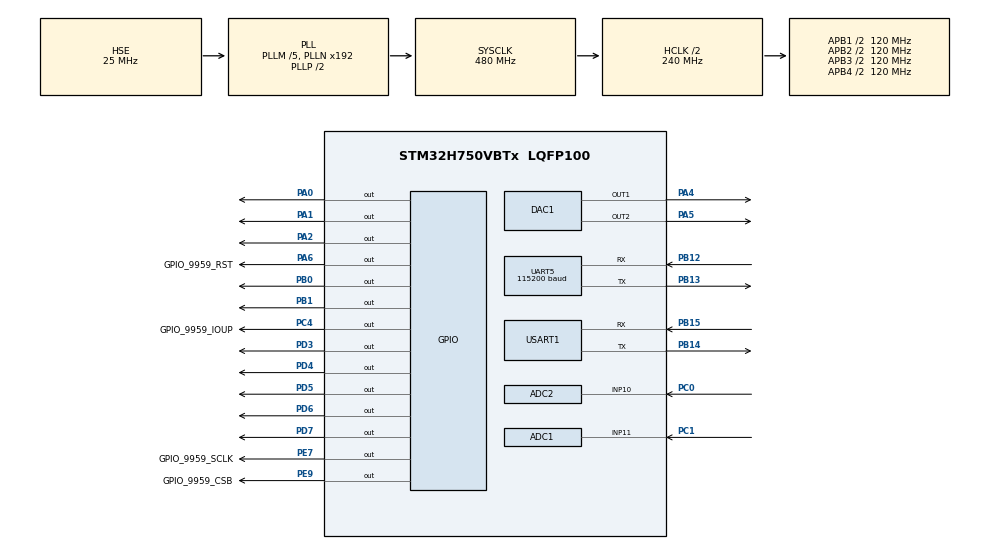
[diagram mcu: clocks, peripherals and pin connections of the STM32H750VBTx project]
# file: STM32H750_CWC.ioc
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ADC1.Channel-0\#ChannelRegularConversion=ADC_CHANNEL_11
ADC1.ConversionDataManagement=ADC_CONVERSIONDATA_DMA_CIRCULAR
ADC1.ExternalTrigConv=ADC_EXTERNALTRIG_T4_TRGO
ADC1.NbrOfConversionFlag=1
ADC1.OffsetNumber-0\#ChannelRegularConversion=ADC_OFFSET_NONE
ADC1.OffsetSignedSaturation-0\#ChannelRegularConversion=DISABLE
ADC1.Overrun=ADC_OVR_DATA_OVERWRITTEN
ADC1.OversamplingMode=DISABLE
ADC1.Rank-0\#ChannelRegularConversion=1
ADC1.SamplingTime-0\#ChannelRegularConversion=ADC_SAMPLETIME_1CYCLE_5
ADC1.master=1
ADC2.Channel-1\#ChannelRegularConversion=ADC_CHANNEL_10
ADC2.ConversionDataManagement=ADC_CONVERSIONDATA_DMA_CIRCULAR
ADC2.ExternalTrigConv=ADC_EXTERNALTRIG_T4_TRGO
ADC2.NbrOfConversionFlag=1
ADC2.OffsetNumber-1\#ChannelRegularConversion=ADC_OFFSET_NONE
ADC2.OffsetSignedSaturation-1\#ChannelRegularConversion=DISABLE
ADC2.Rank-1\#ChannelRegularConversion=1
ADC2.SamplingTime-1\#ChannelRegularConversion=ADC_SAMPLETIME_1CYCLE_5
CORTEX_M7.default_mode_Activation=1
DAC1.DAC_Channel-DAC_OUT1=DAC_CHANNEL_1
DAC1.DAC_Channel-DAC_OUT2=DAC_CHANNEL_2
DAC1.DAC_Trigger-DAC_OUT2=DAC_TRIGGER_NONE
Dma.ADC1.0.Direction=DMA_PERIPH_TO_MEMORY
Dma.ADC1.0.EventEnable=DISABLE
Dma.ADC1.0.FIFOMode=DMA_FIFOMODE_DISABLE
Dma.ADC1.0.Instance=DMA1_Stream0
Dma.ADC1.0.MemDataAlignment=DMA_MDATAALIGN_HALFWORD
Dma.ADC1.0.MemInc=DMA_MINC_ENABLE
Dma.ADC1.0.Mode=DMA_CIRCULAR
Dma.ADC1.0.PeriphDataAlignment=DMA_PDATAALIGN_HALFWORD
Dma.ADC1.0.PeriphInc=DMA_PINC_DISABLE
Dma.ADC1.0.Polarity=HAL_DMAMUX_REQ_GEN_RISING
Dma.ADC1.0.Priority=DMA_PRIORITY_VERY_HIGH
Dma.ADC1.0.RequestNumber=1
Dma.ADC1.0.SignalID=NONE
Dma.ADC1.0.SyncEnable=DISABLE
Dma.ADC1.0.SyncPolarity=HAL_DMAMUX_SYNC_NO_EVENT
Dma.ADC1.0.SyncRequestNumber=1
Dma.ADC1.0.SyncSignalID=NONE
Dma.ADC2.1.Direction=DMA_PERIPH_TO_MEMORY
Dma.ADC2.1.EventEnable=DISABLE
Dma.ADC2.1.FIFOMode=DMA_FIFOMODE_DISABLE
Dma.ADC2.1.Instance=DMA1_Stream1
Dma.ADC2.1.MemDataAlignment=DMA_MDATAALIGN_HALFWORD
Dma.ADC2.1.MemInc=DMA_MINC_ENABLE
Dma.ADC2.1.Mode=DMA_CIRCULAR
Dma.ADC2.1.PeriphDataAlignment=DMA_PDATAALIGN_HALFWORD
Dma.ADC2.1.PeriphInc=DMA_PINC_DISABLE
Dma.ADC2.1.Polarity=HAL_DMAMUX_REQ_GEN_RISING
Dma.ADC2.1.Priority=DMA_PRIORITY_MEDIUM
Dma.ADC2.1.RequestNumber=1
Dma.ADC2.1.SignalID=NONE
Dma.ADC2.1.SyncEnable=DISABLE
Dma.ADC2.1.SyncPolarity=HAL_DMAMUX_SYNC_NO_EVENT
Dma.ADC2.1.SyncRequestNumber=1
Dma.ADC2.1.SyncSignalID=NONE
Dma.Request0=ADC1
Dma.Request1=ADC2
Mcu.Family=STM32H7
Mcu.Name=STM32H750VBTx
Mcu.Package=LQFP100
NVIC.ADC_IRQn=true\:2\:1\:true\:false\:true\:true\:true\:true
NVIC.DMA1_Stream0_IRQn=true\:2\:0\:true\:false\:true\:false\:true\:true
NVIC.DMA1_Stream1_IRQn=true\:0\:0\:false\:false\:true\:false\:true\:true
NVIC.PriorityGroup=NVIC_PRIORITYGROUP_3
NVIC.TIM1_UP_IRQn=true\:3\:0\:true\:false\:true\:true\:true\:true
NVIC.TIM2_IRQn=true\:3\:1\:true\:false\:true\:true\:true\:true
NVIC.TIM4_IRQn=true\:0\:0\:false\:false\:true\:true\:true\:true
NVIC.UART5_IRQn=true\:4\:0\:true\:false\:true\:true\:true\:true
NVIC.USART1_IRQn=true\:4\:0\:true\:false\:true\:true\:true\:true
PA0.Signal=GPIO_Output
PA1.GPIO_Speed=GPIO_SPEED_FREQ_LOW
PA1.Signal=GPIO_Output
PA13\ (JTMS/SWDIO).Mode=Serial_Wire
PA13\ (JTMS/SWDIO).Signal=DEBUG_JTMS-SWDIO
PA14\ (JTCK/SWCLK).Mode=Serial_Wire
PA14\ (JTCK/SWCLK).Signal=DEBUG_JTCK-SWCLK
PA2.GPIO_Speed=GPIO_SPEED_FREQ_LOW
PA2.Signal=GPIO_Output
PA4.Signal=SharedAnalog_PA4
PA5.Signal=SharedAnalog_PA5
PA6.GPIO_Label=GPIO_9959_RST
PA6.Signal=GPIO_Output
PB0.Signal=GPIO_Output
PB1.Signal=GPIO_Output
PB12.Mode=Asynchronous
PB12.Signal=UART5_RX
PB13.Mode=Asynchronous
PB13.Signal=UART5_TX
PB14.Mode=Asynchronous
PB14.Signal=USART1_TX
PB15.Mode=Asynchronous
PB15.Signal=USART1_RX
PC0.Signal=SharedAnalog_PC0
PC1.Signal=SharedAnalog_PC1
PC4.GPIO_Label=GPIO_9959_IOUP
PC4.Signal=GPIO_Output
PD3.Signal=GPIO_Output
PD4.Signal=GPIO_Output
PD5.Signal=GPIO_Output
PD6.Signal=GPIO_Output
PD7.Signal=GPIO_Output
PE7.GPIO_Label=GPIO_9959_SCLK
PE7.Signal=GPIO_Output
PE9.GPIO_Label=GPIO_9959_CSB
PE9.Signal=GPIO_Output
PH0-OSC_IN\ (PH0).Mode=HSE-External-Oscillator
PH0-OSC_IN\ (PH0).Signal=RCC_OSC_IN
PH1-OSC_OUT\ (PH1).Mode=HSE-External-Oscillator
PH1-OSC_OUT\ (PH1).Signal=RCC_OSC_OUT
ProjectManager.HeapSize=0x200
ProjectManager.StackSize=0x400
ProjectManager.TargetToolchain=CMake
RCC.ADCCLockSelection=RCC_ADCCLKSOURCE_PLL3
RCC.ADCFreq_Value=20000000
RCC.APB1Freq_Value=120000000
RCC.APB2Freq_Value=120000000
RCC.APB3Freq_Value=120000000
RCC.APB4Freq_Value=120000000
RCC.CortexFreq_Value=480000000
RCC.D1PPRE=RCC_APB3_DIV2
RCC.D2PPRE1=RCC_APB1_DIV2
RCC.D2PPRE2=RCC_APB2_DIV2
RCC.D3PPRE=RCC_APB4_DIV2
RCC.DIVM1=5
RCC.DIVM2=25
RCC.DIVM3=25
RCC.DIVN1=192
RCC.DIVN2=240
RCC.DIVN3=200
RCC.DIVQ3=10
RCC.DIVR3=10
RCC.HCLKFreq_Value=240000000
RCC.HPRE=RCC_HCLK_DIV2
RCC.PLLSourceVirtual=RCC_PLLSOURCE_HSE
RCC.SYSCLKFreq_VALUE=480000000
RCC.SYSCLKSource=RCC_SYSCLKSOURCE_PLLCLK
RCC.USBFreq_Value=480000000
SH.SharedAnalog_PA4.0=GPIO_Analog
SH.SharedAnalog_PA4.1=DAC1_OUT1,DAC_OUT1
SH.SharedAnalog_PA5.0=GPIO_Analog
SH.SharedAnalog_PA5.1=DAC1_OUT2,DAC_OUT2
SH.SharedAnalog_PC0.0=GPIO_Analog
SH.SharedAnalog_PC0.1=ADC2_INP10,IN10-Single-Ended
SH.SharedAnalog_PC1.0=GPIO_Analog
SH.SharedAnalog_PC1.1=ADC1_INP11,IN11-Single-Ended
TIM1.AutoReloadPreload=TIM_AUTORELOAD_PRELOAD_ENABLE
TIM1.Period=23
TIM1.Prescaler=9
TIM1.TIM_MasterOutputTrigger=TIM_TRGO_UPDATE
TIM2.AutoReloadPreload=TIM_AUTORELOAD_PRELOAD_ENABLE
TIM2.Period=239
TIM2.Prescaler=9
TIM2.TIM_MasterOutputTrigger=TIM_TRGO_OC1REF
TIM4.AutoReloadPreload=TIM_AUTORELOAD_PRELOAD_ENABLE
TIM4.Period=95
TIM4.Prescaler=19
TIM4.TIM_MasterOutputTrigger=TIM_TRGO_UPDATE
UART5.BaudRate=115200
USART1.FIFOMode=FIFOMODE_DISABLE
USART1.VirtualMode-Asynchronous=VM_ASYNC
VP_MEMORYMAP_VS_MEMORYMAP.Mode=CurAppReg
VP_TIM1_VS_ClockSourceINT.Mode=Internal
VP_TIM2_VS_ClockSourceINT.Mode=Internal
VP_TIM4_VS_ClockSourceINT.Mode=Internal
VP_VREFBUF_V_VREFBUF.Mode=ExternalMode
board=custom

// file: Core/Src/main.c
/* USER CODE BEGIN Header */
/**
  ******************************************************************************
  * @file           : main.c
  * @brief          : Main program body
  ******************************************************************************
  * @attention
  *
  * Copyright (c) 2025 STMicroelectronics.
  * All rights reserved.
  *
  * This software is licensed under terms that can be found in the LICENSE file
  * in the root directory of this software component.
  * If no LICENSE file comes with this software, it is provided AS-IS.
  *
  ******************************************************************************
  */
/////////////////////////////////IMPORTANT NOTE: make sure to comment the UART4_HANDLER() in stm32h7xx_it.c
/* USER CODE END Header */
#include "main.h"
#include "adc.h"
#include "dac.h"
#include "dma.h"
#include "tim.h"
#include "usart.h"
#include "gpio.h"

/* USER CODE BEGIN Includes */
#include <string.h>

#include "Serial.h"

#include "Key2.h"

#include "AD9959.h"

#include "delay.h"

#include "custom_logger.h"

#include "Mode1.h"
#include "Mode3.h"

#include "scan.h"
#include "Ftype.h"

/* USER CODE END Includes */

void SystemClock_Config(void);
void PeriphCommonClock_Config(void);
static void MPU_Config(void);

/* USER CODE BEGIN 0 */

void HAL_TIM_PeriodElapsedCallback(TIM_HandleTypeDef *htim)
{
    if (htim->Instance == TIM4) {
        // CUSTOM_LOG_V(V_INFO, "===========tim4==========\r\n");
        Sweep_TIM_IRQHandler();  // 1us ????????
    }
}

void HAL_ADC_ConvCpltCallback(ADC_HandleTypeDef* hadc)
{
    Sweep_ADC_ConvCpltCallback(hadc);

}

/*
GPIO External Interrupt Callback Function
Pins: 	PE2-->LED4(PC6),PE3-->LED5(PC7)

*/
void HAL_GPIO_EXTI_Callback(uint16_t GPIO_Pin) {
    delay_ms(50);
    // if (GPIO_Pin == GPIO_PIN_2) {
    //     if (GPIO_PIN_RESET == HAL_GPIO_ReadPin(GPIOE, GPIO_PIN_2)) {
    //         HAL_GPIO_TogglePin(GPIOA, GPIO_PIN_0);
    //         if (led1_status == 0) {
    //             Screen_SendStr("led1.val=1", FB_ON); //REMAINDER OF PREVIOUS PIN SETUP
    //             led1_status = 1;
    //         } else {
    //             Screen_SendStr("led1.val=0", FB_ON);
    //             led1_status = 0;
    //         }
    //     } //?? PC6
    // } else if (GPIO_Pin == GPIO_PIN_3) {
    //     if (GPIO_PIN_RESET == HAL_GPIO_ReadPin(GPIOE, GPIO_PIN_3)) //PE3
    //     {
    //         HAL_GPIO_TogglePin(GPIOA, GPIO_PIN_2);
    //         if (led2_status == 0) {
    //             Screen_SendStr("led2.val=1", FB_ON);
    //             led2_status = 1;
    //         } else {
    //             Screen_SendStr("led2.val=0", FB_ON);
    //             led2_status = 0;
    //         }
    //     } //PC7
    // }
}

/* USER CODE END 0 */

int main(void)
{

  /* USER CODE BEGIN 1 */

    //MODIFIED from main.c's request method

  /* USER CODE END 1 */

  /* MPU Configuration--------------------------------------------------------*/
  MPU_Config();

  /* MCU Configuration--------------------------------------------------------*/

  /* Reset of all peripherals, Initializes the Flash interface and the Systick. */
  HAL_Init();

  /* Configure the system clock */
  SystemClock_Config();

  /* Configure the peripherals common clocks */
  PeriphCommonClock_Config();

  /* Initialize all configured peripherals */
  MX_GPIO_Init();
  MX_DMA_Init();
  MX_UART5_Init();
  MX_ADC1_Init();
  MX_TIM1_Init();
  MX_TIM2_Init();
  MX_DAC1_Init();
  MX_USART1_UART_Init();
  MX_TIM4_Init();
  MX_ADC2_Init();
  /* USER CODE BEGIN 2 */

    //printf("before TIM\r\n");
    //HAL_TIM_Base_Start(&htim1);//tim1 init
    // HAL_TIM_Base_Start(&htim2);//tim2 init
    // printf("before ADC\r\n");

    //HAL_ADC_Start_DMA(&hadc1,g_adc1_dma_data1,ADC_DATA_LENGTH);
    // printf("after ADC\r\n");

    //printf("before delay\r\n");
    delay_init(480);
    delay_ms(100);

    //Serial_printf("DDS1\r\n");
    Init_AD9959();
    IntReset();
    AD9959_SetPhase4Channel(0, 0, 0, 0);
    AD9959_SetFrequency4Channel(0, 0, 0, 0);
    AD9959_SetAmp4Channel(1000, 1000, 1000, 1000);
    IO_Update();
    delay_ms(10);
    // Write_frequence(2, 2000000);
    // Write_Amplitude(2, 100);
    // Write_Phase(2, 0);

    __HAL_UART_ENABLE_IT(huart_debug, UART_IT_RXNE);
    __HAL_UART_ENABLE_IT(huart_screen, UART_IT_RXNE);
    //Serial_printf("\r\nIT_RXNE ENABLED\r\n");

    CUSTOM_LOG_V(V_INFO, "===========INITIALIZATION COMPLETE==========\r\n");

    HAL_GPIO_TogglePin(GPIOA, GPIO_PIN_1);
    delay_ms(150);
    HAL_GPIO_TogglePin(GPIOA, GPIO_PIN_1);
    delay_ms(150);
    HAL_GPIO_TogglePin(GPIOA, GPIO_PIN_1);
    delay_ms(150);
    HAL_GPIO_WritePin(GPIOA, GPIO_PIN_1, GPIO_PIN_RESET);
    delay_ms(150);

    //printf("debug flag 1\r\n");
    FilterType ftype = FILTER_UNKNOWN;
  /* USER CODE END 2 */

  /* Infinite loop */
    while (1) {

    /* USER CODE BEGIN 3 */
        //ADC_DMA_Output();
        if (AD_State == ADDA_STATE_IDLE) {
            switch (print4serial()) {
                case 0x0004: {
                    AD_State = ADDA_STATE_INIT;
                    break;
                }
                case 0x0002: {
                    CUSTOM_LOG_V(V_INFO, "SERIAL INFO\r\n");
                    break;
                }
                default: ;
            }
            switch (print4screen()) {
                /*===MODE1 FREQ OUT===*/
                case 0x0000: {
                    break;
                }
                case 0x1000: {
                    Serial_printf("MODE1 ON\r\n");
                    Write_frequence(0, m1_freq);
                    Write_Amplitude(0, 896);
                    Write_Phase(0, 0);
                    IO_Update();
                    break;
                }
                case 0x2000: {
                    Serial_printf("MODE1 OFF\r\n");
                    Write_Amplitude(0, 0);
                    Write_Phase(0, 0);
                    Write_frequence(0, 0);
                    IO_Update();
                    break;
                }
                case 0x4000: {
                    Mode1_FreqSel(USART_SCR_RX_BUF);
                    CUSTOM_LOG_V(V_INFO, "Freq:%d\r\n", m1_freq);
                    break;
                }
                /*===MODE2 1kHz_2V_Output===*/
                case 0x0100: {
                    CUSTOM_LOG("MODE2 ON\r\n");
                    Write_frequence(0, 1000);
                    Write_Amplitude(0, 170);
                    Write_Phase(0, 0);
                    IO_Update();
                    break;
                }
                case 0x0200: {
                    CUSTOM_LOG("MODE2 OFF\r\n");
                    Write_Amplitude(0, 0);
                    Write_Phase(0, 0);
                    Write_frequence(0, 0);
                    IO_Update();
                    break;
                }
                /*===MODE3 FREQ 1-2V OUTPUT===*/
                case 0x0040: {
                    Mode3_FreqMagSel(USART_SCR_RX_BUF);
                    //CUSTOM_LOG_V(V_INFO, "Freq:%d\r\n", m3_freq);//MIGHT CAUSE PACK LOSS
                    //CUSTOM_LOG_V(V_INFO, "Mag:%d\r\n", m3_DDS_Out); //now outputs analog output requirement.
                    break;
                }
                case 0x0010: {
                    Write_frequence(0, m3_freq);
                    Write_Amplitude(0, m3_DDS_Out);
                    Write_Phase(0, 0);
                    IO_Update();
                    break;
                }
                case 0x0020: {
                    Write_Amplitude(0, 0);
                    Write_Phase(0, 0);
                    Write_frequence(0, 0);
                    IO_Update();
                    break;
                }
                case 0x0001: {
                    AD_State = ADDA_STATE_INIT;
                    break;
                }
                default: ;
            }
        } else if (AD_State == ADDA_STATE_INIT) {
            AD_State = ADDA_STATE_RUNNING;
            AD9959_SetAmp4Channel(1000, 1000, 1000, 1000);
            CUSTOM_LOG("RUNNING\r\n");
            HAL_TIM_Base_Start_IT(&htim4);
            Sweep_Start();
            //CUSTOM_LOG_V(V_INFO, "DMA INIT\r\n");
        } else if (AD_State == ADDA_STATE_RUNNING) {
            switch (print4serial()) {
                case 0x0008: {
                    AD_State = ADDA_STATE_HALTED;
                    //CUSTOM_LOG_V(V_INFO, "DMA ENDED\r\n");
                    break;
                }
                default: ;
            }
            switch (print4screen()) {
                case 0x0002: {
                    AD_State = ADDA_STATE_HALTED;
                    //CUSTOM_LOG_V(V_INFO, "DMA ENDED\r\n");
                    break;
                }
                default: ;
            }
        } else if (AD_State == ADDA_STATE_HALTED) {
            AD9959_SetPhase4Channel(0,0,0,0);
            AD9959_SetFrequency4Channel(0,0,0,0);
            AD9959_SetAmp4Channel(0, 0, 0, 0);
            CUSTOM_LOG("HALTED\r\n");
            HAL_TIM_Base_Stop(&htim4);
            ftype = FilterAnalysis(sweep_result_buffer, sweep_result_buffer,
                                   (uint32_t) (sizeof(sweep_result_buffer) / sizeof(float)));
            memset(sweep_result_buffer, 0,MAX_SWEEP_POINTS * sizeof(float));
            memset(sweep_freq_buffer, 0,MAX_SWEEP_POINTS * sizeof(uint32_t));
            memset(sweep_result_buffer_adc2, 0,MAX_SWEEP_POINTS * sizeof(float));
            memset(sweep_freq_buffer_adc2, 0,MAX_SWEEP_POINTS * sizeof(uint32_t));
            switch (ftype) {
                case FILTER_LOW_PASS:
                    Screen_SendStrToShow("LOWPASS",FB_OFF);
                    break;
                case FILTER_HIGH_PASS:
                    Screen_SendStrToShow("HIGHPASS",FB_OFF);
                    break;
                case FILTER_BAND_PASS:
                    Screen_SendStrToShow("BANDPASS",FB_OFF);
                    break;
                case FILTER_BAND_STOP:
                    Screen_SendStrToShow("BANDSTOP",FB_OFF);
                    break;
                case FILTER_UNKNOWN:
                    Screen_SendStrToShow("UNKNOWN",FB_OFF);
                    // Screen_SendStr_b("UNKNOWN\"\xFF\xFF\xFF\r\n");
                    // Serial_printf("UNKNOWN\r\n");
                    break;
                default: ;
            }
            Screen_SendStr_b("\r\n");
            Screen_SendStr("recv_txt.txt=\"123\"",FB_OFF);
            Screen_SendStr("ls.val=1",FB_ON);
            Screen_SendStr_b("\r\n");
            ftype = FILTER_UNKNOWN;
            AD_State = ADDA_STATE_IDLE;
        }
    }
  /* USER CODE END 3 */
}

void SystemClock_Config(void)
{
  RCC_OscInitTypeDef RCC_OscInitStruct = {0};
  RCC_ClkInitTypeDef RCC_ClkInitStruct = {0};

  /** Supply configuration update enable
  */
  HAL_PWREx_ConfigSupply(PWR_LDO_SUPPLY);

  /** Configure the main internal regulator output voltage
  */
  __HAL_PWR_VOLTAGESCALING_CONFIG(PWR_REGULATOR_VOLTAGE_SCALE0);

  while(!__HAL_PWR_GET_FLAG(PWR_FLAG_VOSRDY)) {}

  /** Initializes the RCC Oscillators according to the specified parameters
  * in the RCC_OscInitTypeDef structure.
  */
  RCC_OscInitStruct.OscillatorType = RCC_OSCILLATORTYPE_HSE;
  RCC_OscInitStruct.HSEState = RCC_HSE_ON;
  RCC_OscInitStruct.PLL.PLLState = RCC_PLL_ON;
  RCC_OscInitStruct.PLL.PLLSource = RCC_PLLSOURCE_HSE;
  RCC_OscInitStruct.PLL.PLLM = 5;
  RCC_OscInitStruct.PLL.PLLN = 192;
  RCC_OscInitStruct.PLL.PLLP = 2;
  RCC_OscInitStruct.PLL.PLLQ = 2;
  RCC_OscInitStruct.PLL.PLLR = 2;
  RCC_OscInitStruct.PLL.PLLRGE = RCC_PLL1VCIRANGE_2;
  RCC_OscInitStruct.PLL.PLLVCOSEL = RCC_PLL1VCOWIDE;
  RCC_OscInitStruct.PLL.PLLFRACN = 0;
  if (HAL_RCC_OscConfig(&RCC_OscInitStruct) != HAL_OK)
  {
    Error_Handler();
  }

  /** Initializes the CPU, AHB and APB buses clocks
  */
  RCC_ClkInitStruct.ClockType = RCC_CLOCKTYPE_HCLK|RCC_CLOCKTYPE_SYSCLK
                              |RCC_CLOCKTYPE_PCLK1|RCC_CLOCKTYPE_PCLK2
                              |RCC_CLOCKTYPE_D3PCLK1|RCC_CLOCKTYPE_D1PCLK1;
  RCC_ClkInitStruct.SYSCLKSource = RCC_SYSCLKSOURCE_PLLCLK;
  RCC_ClkInitStruct.SYSCLKDivider = RCC_SYSCLK_DIV1;
  RCC_ClkInitStruct.AHBCLKDivider = RCC_HCLK_DIV2;
  RCC_ClkInitStruct.APB3CLKDivider = RCC_APB3_DIV2;
  RCC_ClkInitStruct.APB1CLKDivider = RCC_APB1_DIV2;
  RCC_ClkInitStruct.APB2CLKDivider = RCC_APB2_DIV2;
  RCC_ClkInitStruct.APB4CLKDivider = RCC_APB4_DIV2;

  if (HAL_RCC_ClockConfig(&RCC_ClkInitStruct, FLASH_LATENCY_4) != HAL_OK)
  {
    Error_Handler();
  }
}

void PeriphCommonClock_Config(void)
{
  RCC_PeriphCLKInitTypeDef PeriphClkInitStruct = {0};

  /** Initializes the peripherals clock
  */
  PeriphClkInitStruct.PeriphClockSelection = RCC_PERIPHCLK_ADC;
  PeriphClkInitStruct.PLL3.PLL3M = 25;
  PeriphClkInitStruct.PLL3.PLL3N = 200;
  PeriphClkInitStruct.PLL3.PLL3P = 2;
  PeriphClkInitStruct.PLL3.PLL3Q = 10;
  PeriphClkInitStruct.PLL3.PLL3R = 10;
  PeriphClkInitStruct.PLL3.PLL3RGE = RCC_PLL3VCIRANGE_0;
  PeriphClkInitStruct.PLL3.PLL3VCOSEL = RCC_PLL3VCOWIDE;
  PeriphClkInitStruct.PLL3.PLL3FRACN = 0;
  PeriphClkInitStruct.AdcClockSelection = RCC_ADCCLKSOURCE_PLL3;
  if (HAL_RCCEx_PeriphCLKConfig(&PeriphClkInitStruct) != HAL_OK)
  {
    Error_Handler();
  }
}

 /* MPU Configuration */

void MPU_Config(void)
{
  MPU_Region_InitTypeDef MPU_InitStruct = {0};

  /* Disables the MPU */
  HAL_MPU_Disable();

  /** Initializes and configures the Region and the memory to be protected
  */
  MPU_InitStruct.Enable = MPU_REGION_ENABLE;
  MPU_InitStruct.Number = MPU_REGION_NUMBER0;
  MPU_InitStruct.BaseAddress = 0x0;
  MPU_InitStruct.Size = MPU_REGION_SIZE_4GB;
  MPU_InitStruct.SubRegionDisable = 0x87;
  MPU_InitStruct.TypeExtField = MPU_TEX_LEVEL0;
  MPU_InitStruct.AccessPermission = MPU_REGION_NO_ACCESS;
  MPU_InitStruct.DisableExec = MPU_INSTRUCTION_ACCESS_DISABLE;
  MPU_InitStruct.IsShareable = MPU_ACCESS_SHAREABLE;
  MPU_InitStruct.IsCacheable = MPU_ACCESS_NOT_CACHEABLE;
  MPU_InitStruct.IsBufferable = MPU_ACCESS_NOT_BUFFERABLE;

  HAL_MPU_ConfigRegion(&MPU_InitStruct);
  /* Enables the MPU */
  HAL_MPU_Enable(MPU_PRIVILEGED_DEFAULT);

}

void Error_Handler(void)
{
    __disable_irq();
    while (1) {
    }
}
